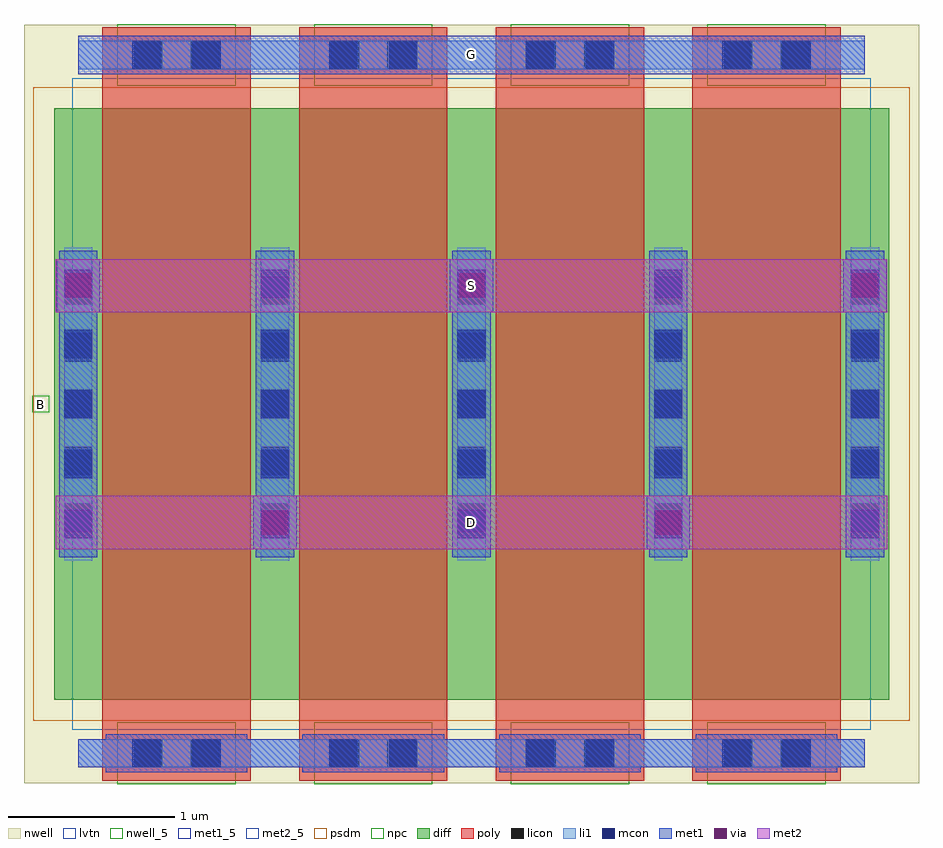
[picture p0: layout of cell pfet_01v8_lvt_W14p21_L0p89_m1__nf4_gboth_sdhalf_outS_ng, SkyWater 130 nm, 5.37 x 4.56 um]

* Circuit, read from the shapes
.subckt pfet_01v8_lvt_W14p21_L0p89_m1__nf4_gboth_sdhalf_outS_ng B D G S
XM1 D G S B sky130_fd_pr__pfet_01v8_lvt w=3.55 l=0.89 m=4
.ends

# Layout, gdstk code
import gdstk
lib = gdstk.Library(unit=1e-6, precision=1e-09)
def R(c, l, rs):  # rectangles x0, y0, x1, y1
    for r in rs: c.add(gdstk.rectangle(r[:2], r[2:], *l))
def A(c, l, x, y, w, h, nx, ny, dx, dy):  # array of equal rectangles
    R(c, l, [(x+i*dx, y+j*dy, x+i*dx+w, y+j*dy+h) for i in range(nx) for j in range(ny)])
nwell_5 = (64, 5)
nwell = (64, 20)
diff = (65, 20)
poly = (66, 20)
licon = (66, 44)
li1 = (67, 20)
mcon = (67, 44)
met1_5 = (68, 5)
met1 = (68, 20)
via = (68, 44)
met2_5 = (69, 5)
met2 = (69, 20)
psdm = (94, 20)
npc = (95, 20)
lvtn = (125, 44)

sky130_fd_pr__pfet_01v8_ = lib.new_cell('sky130_fd_pr__pfet_01v8_lvt_TK8ZRH')
R(sky130_fd_pr__pfet_01v8_, nwell, [(-2.685,-2.275,2.685,2.275)])
R(sky130_fd_pr__pfet_01v8_, diff, [(-2.505,-1.775,2.505,1.775)])
A(sky130_fd_pr__pfet_01v8_, poly, -2.215, -2.26, 0.89, 4.52, 4, 1, 1.18, 0)
A(sky130_fd_pr__pfet_01v8_, licon, -2.445, -0.765, 0.17, 0.17, 5, 5, 1.18, 0.34)
R(sky130_fd_pr__pfet_01v8_, licon, [(-2.025,-2.18,-1.855,-2.01), (-1.685,-2.18,-1.515,-2.01), (-0.845,-2.18,-0.675,-2.01), (-0.505,-2.18,-0.335,-2.01), (0.335,-2.18,0.505,-2.01), (0.675,-2.18,0.845,-2.01), (1.515,-2.18,1.685,-2.01), (1.855,-2.18,2.025,-2.01), (-2.025,2.01,-1.855,2.18), (-1.685,2.01,-1.515,2.18), (-0.845,2.01,-0.675,2.18), (-0.505,2.01,-0.335,2.18), (0.335,2.01,0.505,2.18), (0.675,2.01,0.845,2.18), (1.515,2.01,1.685,2.18), (1.855,2.01,2.025,2.18)])
A(sky130_fd_pr__pfet_01v8_, li1, -2.445, -0.94, 0.17, 1.88, 5, 1, 1.18, 0)
R(sky130_fd_pr__pfet_01v8_, li1, [(-2.36,-2.18,2.36,-2.01), (-2.36,2.01,2.36,2.18)])
A(sky130_fd_pr__pfet_01v8_, mcon, -2.445, -0.805, 0.17, 0.17, 5, 5, 1.18, 0.36)
R(sky130_fd_pr__pfet_01v8_, mcon, [(-2.035,-2.18,-1.865,-2.01), (-1.675,-2.18,-1.505,-2.01), (-0.855,-2.18,-0.685,-2.01), (-0.495,-2.18,-0.325,-2.01), (0.325,-2.18,0.495,-2.01), (0.685,-2.18,0.855,-2.01), (1.505,-2.18,1.675,-2.01), (1.865,-2.18,2.035,-2.01), (-2.035,2.01,-1.865,2.18), (-1.675,2.01,-1.505,2.18), (-0.855,2.01,-0.685,2.18), (-0.495,2.01,-0.325,2.18), (0.325,2.01,0.495,2.18), (0.685,2.01,0.855,2.18), (1.505,2.01,1.675,2.18), (1.865,2.01,2.035,2.18)])
A(sky130_fd_pr__pfet_01v8_, met1, -2.195, -2.21, 0.85, 0.03, 4, 2, 1.18, 0.2)
A(sky130_fd_pr__pfet_01v8_, met1, -2.475, -0.92, 0.23, 1.84, 5, 1, 1.18, 0)
A(sky130_fd_pr__pfet_01v8_, met1, -2.195, 1.98, 0.85, 0.03, 4, 2, 1.18, 0.2)
R(sky130_fd_pr__pfet_01v8_, met1, [(-2.36,-2.18,2.36,-2.01), (-2.36,2.01,2.36,2.18)])
R(sky130_fd_pr__pfet_01v8_, psdm, [(-2.63,-1.9,2.63,1.9)])
A(sky130_fd_pr__pfet_01v8_, npc, -2.125, -2.28, 0.71, 0.37, 4, 2, 1.18, 4.19)
R(sky130_fd_pr__pfet_01v8_, lvtn, [(-2.395,-1.955,2.395,1.955)])
sky130_fd_pr__pfet_01v8_.add(gdstk.Label('D0', (-2.36,0), layer=67, texttype=5))
sky130_fd_pr__pfet_01v8_.add(gdstk.Label('G', (1.77,2.095), layer=67, texttype=5))
sky130_fd_pr__pfet_01v8_.add(gdstk.Label('G', (0.59,2.095), layer=67, texttype=5))
sky130_fd_pr__pfet_01v8_.add(gdstk.Label('G', (-0.59,2.095), layer=67, texttype=5))
sky130_fd_pr__pfet_01v8_.add(gdstk.Label('G', (-1.77,2.095), layer=67, texttype=5))
sky130_fd_pr__pfet_01v8_.add(gdstk.Label('S1', (-1.18,0), layer=67, texttype=5))
sky130_fd_pr__pfet_01v8_.add(gdstk.Label('D2', (0,0), layer=67, texttype=5))
sky130_fd_pr__pfet_01v8_.add(gdstk.Label('S3', (1.18,0), layer=67, texttype=5))

pfet_01v8_lvt_w14p21_l0p = lib.new_cell('pfet_01v8_lvt_W14p21_L0p89_m1__nf4_gboth_sdhalf_outS_ng')
R(pfet_01v8_lvt_w14p21_l0p, nwell_5, [(0.05,2.225,0.15,2.325)])
R(pfet_01v8_lvt_w14p21_l0p, nwell, [(0.05,2.225,0.15,2.325)])
R(pfet_01v8_lvt_w14p21_l0p, met1_5, [(0.325,4.255,5.045,4.485)])
A(pfet_01v8_lvt_w14p21_l0p, met1, 0.195, 2.825, 0.26, 0.32, 3, 1, 2.36, 0)
R(pfet_01v8_lvt_w14p21_l0p, met1, [(1.375,1.405,1.635,1.725), (3.735,1.405,3.995,1.725), (0.325,4.255,5.045,4.485)])
A(pfet_01v8_lvt_w14p21_l0p, via, 0.25, 2.91, 0.15, 0.15, 3, 1, 2.36, 0)
R(pfet_01v8_lvt_w14p21_l0p, via, [(1.43,1.49,1.58,1.64), (3.79,1.49,3.94,1.64)])
R(pfet_01v8_lvt_w14p21_l0p, met2_5, [(0.19,1.405,5.18,1.725), (0.19,2.825,5.18,3.145)])
R(pfet_01v8_lvt_w14p21_l0p, met2, [(0.19,1.405,5.18,1.725), (0.19,2.825,5.18,3.145)])
pfet_01v8_lvt_w14p21_l0p.add(gdstk.Reference(sky130_fd_pr__pfet_01v8_, (2.685,2.275)))
pfet_01v8_lvt_w14p21_l0p.add(gdstk.Label('S', (2.685,2.985), layer=69, texttype=5))
pfet_01v8_lvt_w14p21_l0p.add(gdstk.Label('D', (2.685,1.565), layer=69, texttype=5))
pfet_01v8_lvt_w14p21_l0p.add(gdstk.Label('G', (2.685,4.37), layer=68, texttype=5))
pfet_01v8_lvt_w14p21_l0p.add(gdstk.Label('B', (0.1,2.275), layer=64, texttype=5))

lib.write_gds('pfet_01v8_lvt_W14p21_L0p89_m1__nf4_gboth_sdhalf_outS_ng.gds')
